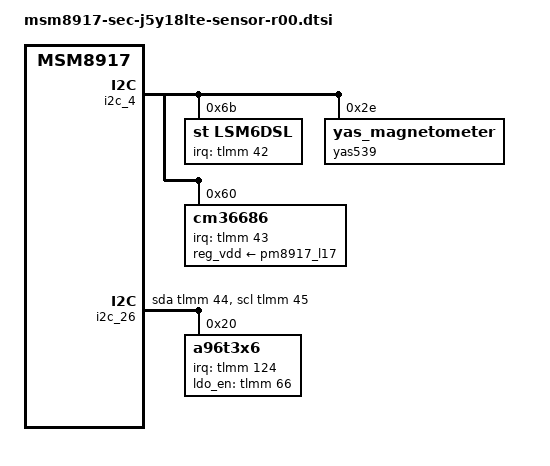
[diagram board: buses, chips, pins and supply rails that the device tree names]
/* Copyright (c) 2017, The Linux Foundation. All rights reserved.
 *
 * This program is free software; you can redistribute it and/or modify
 * it under the terms of the GNU General Public License version 2 and
 * only version 2 as published by the Free Software Foundation.
 *
 * This program is distributed in the hope that it will be useful,
 * but WITHOUT ANY WARRANTY; without even the implied warranty of
 * MERCHANTABILITY or FITNESS FOR A PARTICULAR PURPOSE.  See the
 * GNU General Public License for more details.
 */

&soc {
	tlmm: pinctrl@1000000 {
		acc_int: acc_int {
			mux {
				pins = "gpio42";
				function = "gpio";
			};
			config {
				pins = "gpio42";
				drive-strength = <2>;
				bias-disable;
			};
		};
		
		sensor_int: sensor_int {
			mux {
				pins = "gpio25";
				function = "gpio";
			};
			config {
				pins = "gpio25";
				drive-strength = <2>;
				bias-pull-down; /* Disable */
			};
		};

		prox_int: prox_int {
			mux {
				pins = "gpio43";
				function = "gpio";
			};
			config {
				pins = "gpio43";
				drive-strength = <2>;
				bias-disable;
			};
		};

		grip_int: grip_int {
			mux {
				pins = "gpio124";
				function = "gpio";
			};
			config {
				pins = "gpio124";
				drive-strength = <2>;
				bias-disable;
			};
		};

		grip_i2c: grip_i2c {
			mux {
				pins = "gpio44", "gpio45";
				function = "gpio";
			};
			config {
				pins = "gpio44", "gpio45";
				drive-strength = <2>;
				bias-disable;
			};
		};

	};

	i2c_4: i2c@78b8000 { /* BLSP2 QUP2 */

		compatible = "qcom,i2c-msm-v2";
		#address-cells = <1>;
		#size-cells = <0>;
		reg-names = "qup_phys_addr";
		reg = <0x78b8000 0x600>;

		interrupt-names = "qup_irq";
		interrupts = <0 98 0>;

		qcom,clk-freq-out = <400000>;
		qcom,clk-freq-in  = <19200000>;
		clock-names = "iface_clk", "core_clk";
		clocks = <&clock_gcc clk_gcc_blsp1_ahb_clk>,

			<&clock_gcc clk_gcc_blsp1_qup4_i2c_apps_clk>;


		pinctrl-names = "i2c_active", "i2c_sleep";
		pinctrl-0 = <&i2c_4_active &sensor_ldo_en_default>;

		pinctrl-1 = <&i2c_4_sleep>;

		qcom,noise-rjct-scl = <0>;
		qcom,noise-rjct-sda = <0>;
		qcom,master-id = <86>;

		dmas = <&dma_blsp1 10 64 0x20000020 0x20>,

			<&dma_blsp1 11 32 0x20000020 0x20>;

		dma-names = "tx", "rx";
		status = "ok";
		
		lsm6dsl@6b {
			compatible = "st,lsm6dsl";
			reg = <0x6b>;
			pinctrl-names = "default";
			pinctrl-0 = <&acc_int &sensor_int>;
			interrupt-parent = <&tlmm>;
			interrupts = <42 0>, <25 0>;
			st,orientation = <2 1 1 1 2 1 1 1 2>;
			st,drdy-int-pin = <1>;
			st,irq_gpio = <&tlmm 42 0x00>;
		};

		yas539@2e {
			compatible = "yas_magnetometer";
			reg = <0x2e>;
			yas,orientation = <6>;
			yas,softiron = <9202 2 250 167 10709 105 123 392 10663>;
			yas,softiron_sign = <2 0 0 0 2 0 2 0 2>;
		};
		
		cm36686@60 {
			compatible = "cm36686";
			reg = <0x60>;
			pinctrl-names = "default";
			pinctrl-0 = <&prox_int>;
			interrupt-parent = <&tlmm>;
			interrupts = <43 0>;

			cm36686,irq_gpio = <&tlmm 43 0>;

			cm36686,default_hi_thd = <21>;
			cm36686,default_low_thd = <15>;
			cm36686,cancel_hi_thd = <15>;
			cm36686,cancel_low_thd = <10>;
			cm36686,cal_skip_adc = <9>;
			cm36686,cal_fail_adc = <25>;
		    cm36686,default_trim = <3>;
			
		    cm36686,reg_vdd-supply = <&pm8917_l17>;

			cm36686,vdd_always_on = <1>;
			cm36686,vled_same_vdd = <1>;
		};
	};
	
	i2c_26: i2c@26 { /* SW I2C */
		cell-index = <26>;
		compatible = "i2c-gpio";
		gpios = <&tlmm 44 0/* sda */
			&tlmm 45 0/* scl */
		>;
		#i2c-gpio,delay-us = <2>;
		#address-cells = <1>;
		#size-cells = <0>;

		a96t3x6@20 {
			compatible = "a96t3x6";
			pinctrl-names = "default";
			pinctrl-0 = <&grip_int &grip_i2c>;
			reg = <0x20>;
			interrupt-parent = <&tlmm>;
			interrupts = <124 0>;
			a96t3x6,irq_gpio = <&tlmm 124 0>;
			a96t3x6,ldo_en = <&tlmm 66 0>;
			a96t3x6,fw_path = "abov/a96t346_j8plte.fw";
			a96t3x6,chipid = "A96T346";
			a96t3x6,firmup_cmd = <0x38>;
		};
	};
};
